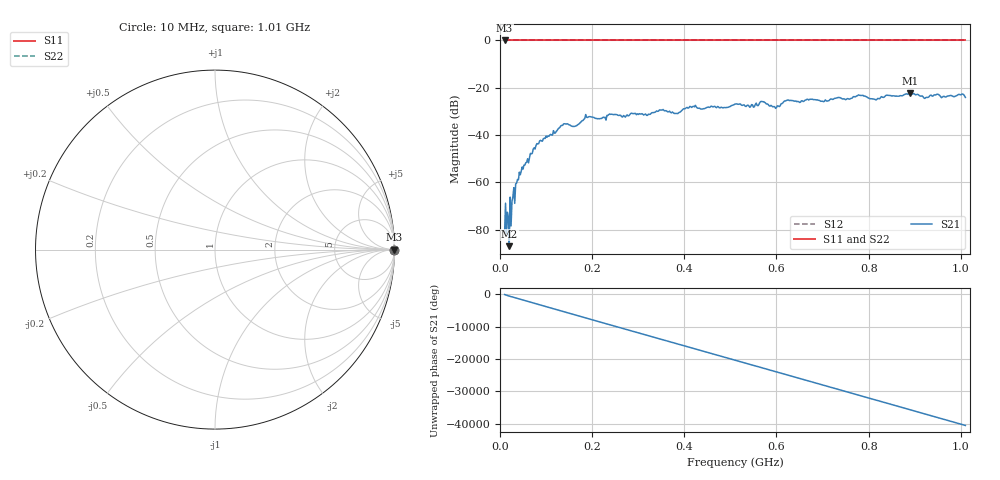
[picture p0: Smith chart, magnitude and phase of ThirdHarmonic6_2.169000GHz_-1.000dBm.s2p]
! 8/17/2025 1:53:05 AM
! C:\ANRITSUVNA\TEMP\TEMP.S2P
! CHANNEL.1
! TR.MEASUREMENT
! RAW.DATA
! RF.CORRECTION.OFF
! AVERAGING.OFF
! IF.BANDWIDTH: 5KHZ
! SWEEPTYPE:  FREQ.SWEEP(Linear)
! Reference Plane Port Info
! PORT:  PORT1  PORT2
! DISTANCE:  0  m  0  m
! TIME:  0  s  0  s
! PHASE.OFFSET:  0  deg.  0  deg.
! LOSS:  0  dB  0  dB
! REF.LOSS:  0  dB  0  dB
! REF.FREQ:  0  Hz  0  Hz
! Power Info
! POWER:  -20  dBm  -20  dBm
! EFF.POWER:  -20  dBm  -20  dBm
! SOURCE.ATTEN:  0  dB  0  dB
! TEST.ATTEN:  0  dB  0  dB
# GHZ S RI R 50.0
! FREQ.GHZ  S11RE  S11IM  S21RE  S21IM  S12RE  S12IM  S22RE  S22IM
!; PortSelection: Port_12
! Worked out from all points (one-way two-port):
!   501 points, 10 MHz to 1.01 GHz, reference 50 ohm
!   highest |S21| = -22.30 dB at 890 MHz (marker M1); lowest = -86.9 dB at 20 MHz (marker M2)
!   lowest |S11| = 0.0 dB at 10 MHz (marker M3)
!   |S11| at or under -10 dB: nowhere
!   |S22| runs from 0.0 to 0.0 dB; largest |S21 - S12| = 1.1
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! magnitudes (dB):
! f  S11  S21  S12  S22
! 10 MHz  0.0  -81.1  0.0  0.0
! 20 MHz  0.0  -86.9  0.0  0.0
! 38 MHz  0.0  -58.7  0.0  0.0
! 76 MHz  0.0  -45.9  0.0  0.0
! 136 MHz  0.0  -35.9  0.0  0.0
! 162 MHz  0.0  -36.3  0.0  0.0
! 178 MHz  0.0  -34.0  0.0  0.0
! 190 MHz  0.0  -32.5  0.0  0.0
! 344 MHz  0.0  -29.8  0.0  0.0
! 382 MHz  0.0  -30.9  0.0  0.0
! 416 MHz  0.0  -28.3  0.0  0.0
! 510 MHz  0.0  -26.9  0.0  0.0
! 548 MHz  0.0  -27.2  0.0  0.0
! 570 MHz  0.0  -25.9  0.0  0.0
! 596 MHz  0.0  -28.0  0.0  0.0
! 622 MHz  0.0  -25.3  0.0  0.0
! 678 MHz  0.0  -24.8  0.0  0.0
! 782 MHz  0.0  -23.2  0.0  0.0
! 814 MHz  0.0  -24.9  0.0  0.0
! 844 MHz  0.0  -23.2  0.0  0.0
! 890 MHz  0.0  -22.3  0.0  0.0
! 1.01 GHz  0.0  -24.1  0.0  0.0
